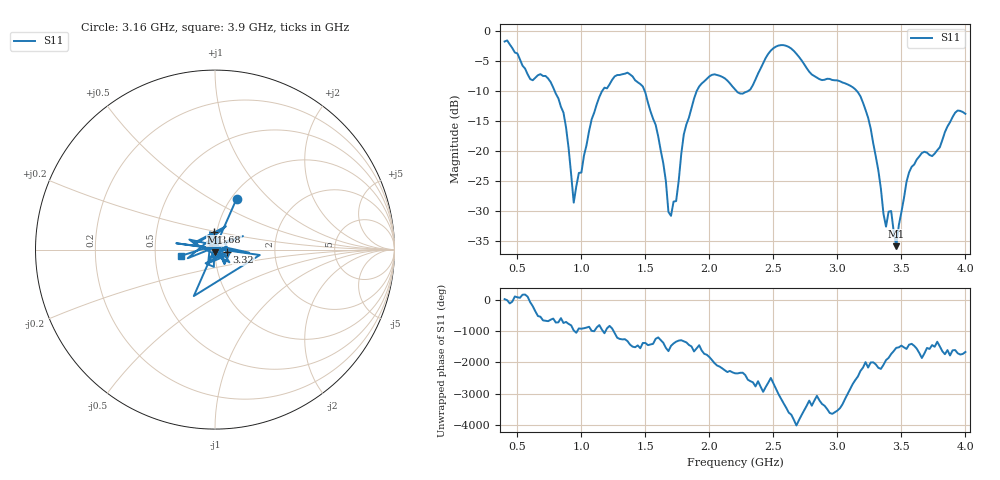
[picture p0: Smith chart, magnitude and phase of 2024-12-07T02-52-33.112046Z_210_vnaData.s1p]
!Created with skrf (http://scikit-rf.org).
# Hz S RI R 50.0
!freq ReS11 ImS11
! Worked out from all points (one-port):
!   181 points, 400 MHz to 4 GHz, reference 50 ohm
!   lowest |S11| = -35.9 dB at 3.46 GHz (marker M1), VSWR 1.03, Z = 50 - j1.61 ohm
!   |S11| at or under -10 dB: 790.5 MHz to 1.163 GHz (372.7 MHz wide, 38.2 % of centre); 1.494 GHz to 1.902 GHz (408.1 MHz wide, 24 % of centre); 3.15 GHz to end of sweep (the widest 3 of 4)
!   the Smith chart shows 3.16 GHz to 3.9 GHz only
!   S11 on the Smith chart (normalised r, x): 3.16 GHz: 1.06, +0.66; 3.32 GHz: 1.14, -0.03; 3.68 GHz: 0.97, +0.19; 3.9 GHz: 0.68, -0.05
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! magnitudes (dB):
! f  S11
! 400 MHz  -1.8
! 600 MHz  -8.1
! 740 MHz  -8.0
! 860 MHz  -13.6
! 940 MHz  -28.6
! 1.14 GHz  -11.0
! 1.3 GHz  -7.4
! 1.5 GHz  -10.3
! 1.6 GHz  -17.6
! 1.68 GHz  -30.2
! 1.76 GHz  -25.0
! 1.8 GHz  -17.3
! 1.92 GHz  -9.3
! 2.2 GHz  -9.8
! 2.32 GHz  -9.8
! 2.5 GHz  -2.9
! 2.66 GHz  -3.4
! 3.1 GHz  -9.2
! 3.16 GHz  -10.2
! 3.32 GHz  -23.3
! 3.38 GHz  -32.6
! 3.42 GHz  -30.0
! 3.46 GHz  -35.9
! 3.56 GHz  -23.6
! 3.68 GHz  -20.2
! 3.76 GHz  -20.5
! 3.9 GHz  -14.4
! 4 GHz  -13.8
